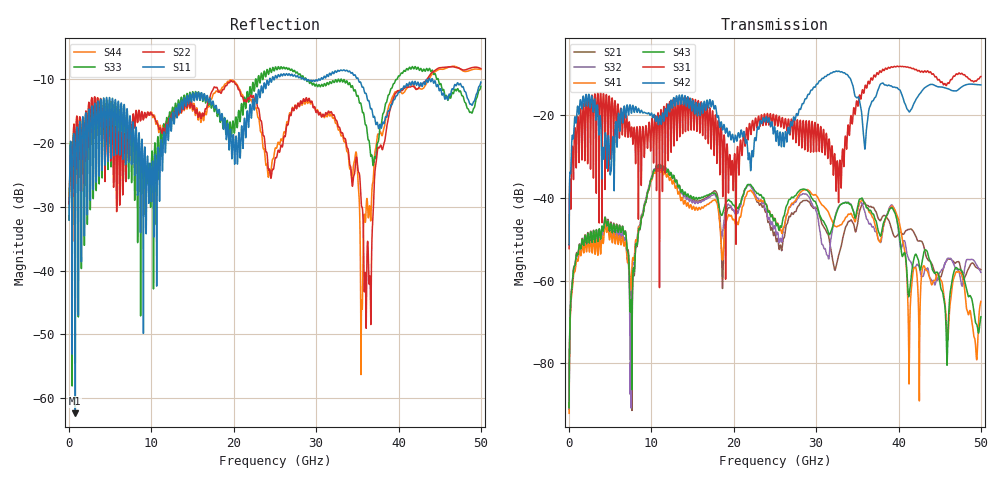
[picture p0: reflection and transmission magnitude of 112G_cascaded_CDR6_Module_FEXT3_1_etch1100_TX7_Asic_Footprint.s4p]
! Created Tue Feb 26 16:59:08 2019
# hz S ma R 50
! 4 Port Network Data from SP1.SP block
! freq  magS11  angS11  magS12  angS12  magS13  angS13  magS14  angS14
!  magS21  angS21  magS22  angS22  magS23  angS23  magS24  angS24
!  magS31  angS31  magS32  angS32  magS33  angS33  magS34  angS34
!  magS41  angS41  magS42  angS42  magS43  angS43  magS44  angS44
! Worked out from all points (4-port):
!   5000 points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, 10 MHz to 50 GHz, reference 50 ohm
!   strongest paths, dB at 10 MHz, 12.51 GHz, 25.01 GHz, 37.51 GHz, 50 GHz:
!     S42: -51.3, -18.1, -23.3, -13.9, -12.7
!     S31: -52.3, -17.5, -22.3, -10.1, -10.6
!     S43: -90.8, -35.2, -45.1, -47.7, -68.7
!     S41: -92.1, -36.5, -45.0, -49.9, -65.0
!     S32: -91.1, -35.1, -46.8, -49.8, -58.0
!     S21: -90.5, -35.0, -48.4, -44.9, -57.3
!   lowest |S11| = -62.4 dB at 760 MHz (marker M1), VSWR 1.00, Z = 49.9 - j0.0332 ohm
!   |S11| at or under -10 dB: start of sweep to 24.35 GHz; 35.1 GHz to 43.69 GHz (8.584 GHz wide, 21.8 % of centre); 44.12 GHz to end of sweep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
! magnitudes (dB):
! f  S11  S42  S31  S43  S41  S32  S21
! 10 MHz  -32.1  -51.3  -52.3  -90.8  -92.1  -91.1  -90.5
! 760 MHz  -62.4  -20.7  -23.6  -55.9  -57.3  -56.3  -55.6
! 28.99 GHz  -10.2  -15.0  -28.3  -38.3  -38.0  -39.4  -40.7
! 36.51 GHz  -14.1  -18.0  -12.3  -43.1  -43.6  -46.3  -42.1
! 39.63 GHz  -12.8  -13.3  -8.3  -44.0  -43.2  -43.5  -49.5
! 41.31 GHz  -10.5  -19.2  -8.5  -63.3  -78.0  -55.1  -47.6
! 50 GHz  -10.5  -12.7  -10.6  -68.7  -65.0  -58.0  -57.3
